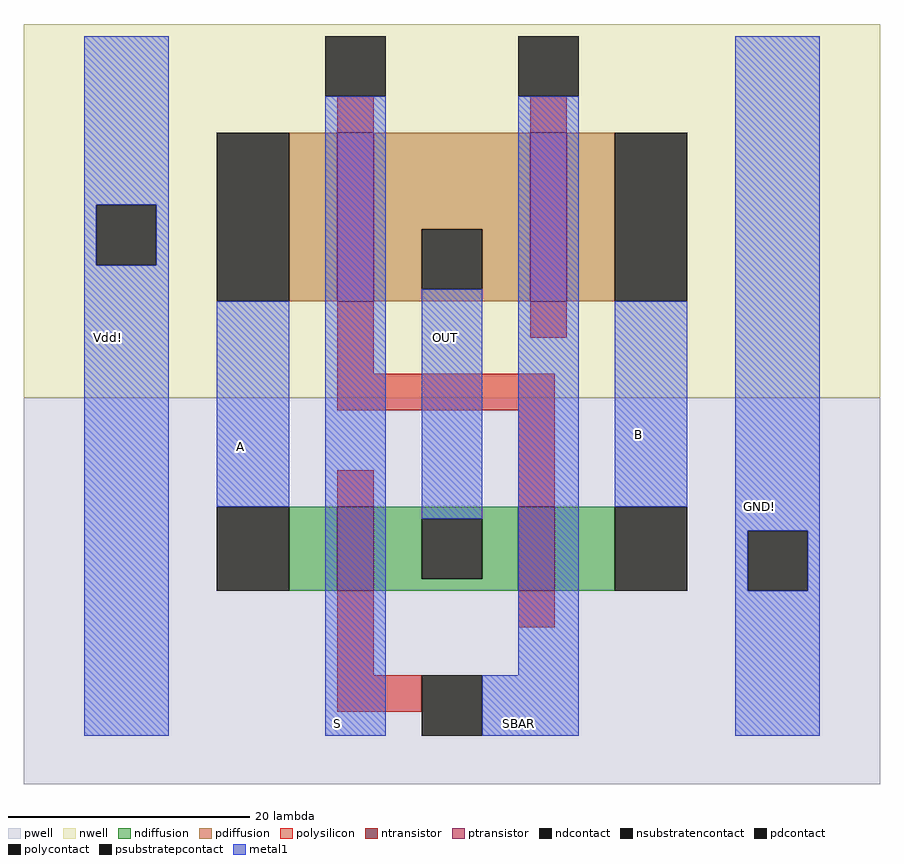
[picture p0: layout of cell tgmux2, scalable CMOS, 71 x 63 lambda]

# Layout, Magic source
magic
tech scmos
<< nwell >>
rect -20 16 51 47
<< pwell >>
rect -20 -16 51 16
<< ntransistor >>
rect 6 0 9 7
rect 21 0 24 7
<< ptransistor >>
rect 6 24 9 38
rect 22 24 25 38
<< ndiffusion >>
rect 2 0 6 7
rect 9 6 21 7
rect 9 1 13 6
rect 18 1 21 6
rect 9 0 21 1
rect 24 0 29 7
<< pdiffusion >>
rect 2 24 6 38
rect 9 30 22 38
rect 9 25 13 30
rect 18 25 22 30
rect 9 24 22 25
rect 25 24 29 38
<< ndcontact >>
rect -4 0 2 7
rect 13 1 18 6
rect 29 0 35 7
<< pdcontact >>
rect -4 24 2 38
rect 13 25 18 30
rect 29 24 35 38
<< psubstratepcontact >>
rect 40 0 45 5
<< nsubstratencontact >>
rect -14 27 -9 32
<< polysilicon >>
rect 6 38 9 41
rect 22 38 25 41
rect 6 18 9 24
rect 22 21 25 24
rect 6 15 24 18
rect 6 7 9 10
rect 21 7 24 15
rect 6 -7 9 0
rect 21 -3 24 0
rect 6 -10 13 -7
<< polycontact >>
rect 5 41 10 46
rect 21 41 26 46
rect 13 -12 18 -7
<< metal1 >>
rect -15 32 -8 46
rect -15 27 -14 32
rect -9 27 -8 32
rect -15 -12 -8 27
rect -4 7 2 24
rect 5 -12 10 41
rect 13 6 18 25
rect 21 -7 26 41
rect 29 7 35 24
rect 39 5 46 46
rect 39 0 40 5
rect 45 0 46 5
rect 18 -12 26 -7
rect 39 -12 46 0
<< labels >>
rlabel metal1 -2 12 -2 12 3 A
rlabel metal1 6 -11 6 -11 1 S
rlabel metal1 21 -11 21 -11 1 SBAR
rlabel metal1 31 13 31 13 7 B
rlabel metal1 15 21 15 21 1 OUT
rlabel metal1 -13 21 -13 21 1 Vdd!
rlabel metal1 41 7 41 7 1 GND!
<< end >>
